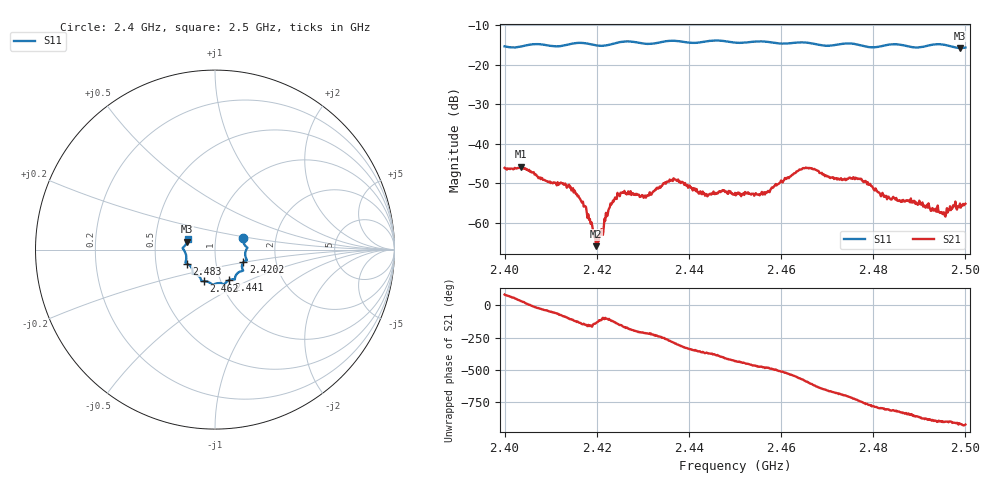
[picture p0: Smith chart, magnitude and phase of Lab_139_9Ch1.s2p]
# Hz S RI R 50
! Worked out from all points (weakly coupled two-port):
!   601 points, 2.4 GHz to 2.5 GHz, reference 50 ohm
!   highest |S21| = -45.80 dB at 2.4035 GHz (marker M1); lowest = -65.8 dB at 2.4198 GHz (marker M2)
!   lowest |S11| = -15.8 dB at 2.4988 GHz (marker M3), VSWR 1.38, Z = 36.4 + j3.28 ohm
!   |S11| at or under -10 dB: start of sweep to end of sweep
!   S12 and S22 are empty: the file has one direction only
!   S11 on the Smith chart (normalised r, x): 2.4 GHz: 1.36, +0.18; 2.4202 GHz: 1.36, -0.20; 2.441 GHz: 1.10, -0.39; 2.462 GHz: 0.84, -0.30; 2.483 GHz: 0.72, -0.11; 2.5 GHz: 0.73, +0.09
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2.4e9  0.1574 0.0628  0.000451 0.00494  0 0  0 0
2.4035e9  0.1664 0.0239  0.00419 0.00295  0 0  0 0
2.4135e9  0.1714 -0.0443  -0.000151 -0.00279  0 0  0 0
2.416667e9  0.1777 -0.0594  -0.00149 -0.00113  0 0  0 0
2.419833e9  0.1603 -0.0686  -0.000374 -0.000349  0 0  0 0
2.420167e9  0.1582 -0.0708  -0.000386 -0.000475  0 0  0 0
2.423e9  0.1502 -0.0973  -0.000735 -0.00161  0 0  0 0
2.425e9  0.1552 -0.1125  -0.00193 -0.00103  0 0  0 0
2.430667e9  0.1298 -0.1283  -0.0017 0.00123  0 0  0 0
2.433333e9  0.1127 -0.1508  -0.00134 0.00236  0 0  0 0
2.437167e9  0.1086 -0.1664  0.0015 0.00319  0 0  0 0
2.441e9  0.0786 -0.17  0.00269 0.000651  0 0  0 0
2.45e9  0.0286 -0.1868  0.000728 -0.00229  0 0  0 0
2.4565e9  -0.0164 -0.194  -0.00131 -0.00189  0 0  0 0
2.462e9  -0.0603 -0.1755  -0.00388 -0.000196  0 0  0 0
2.466667e9  -0.0771 -0.1679  -0.00181 0.00458  0 0  0 0
2.477e9  -0.1252 -0.1241  0.0034 -0.00127  0 0  0 0
2.483e9  -0.1586 -0.0775  0.000213 -0.00199  0 0  0 0
2.483333e9  -0.1605 -0.0767  0.000167 -0.00215  0 0  0 0
2.495167e9  -0.178 0.0113  -0.0013 -6.86e-06  0 0  0 0
2.498833e9  -0.1553 0.0438  -0.00167 0.000547  0 0  0 0
2.5e9  -0.152 0.0611  -0.00162 0.000681  0 0  0 0
